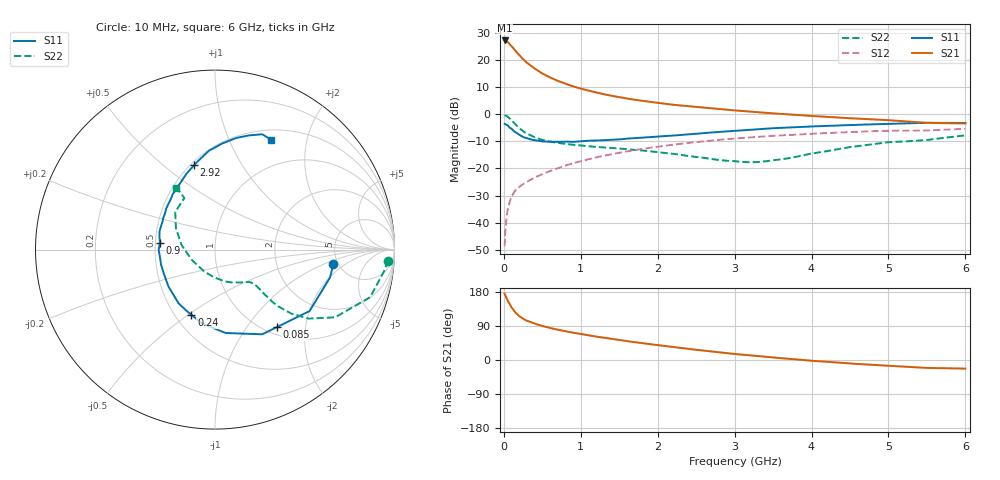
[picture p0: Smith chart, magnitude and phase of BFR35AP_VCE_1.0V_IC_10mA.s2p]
! Infineon Technologies  Discrete & RF Semiconductors
! BFR35AP
! VCE =  1.0 V,  IC =  10 mA
! Common Emitter S-Parameters:  Nov 2015
# GHz  S  MA  R  50
!  f  S11  S21  S12  S22
! GHz  MAG  ANG  MAG  ANG  MAG  ANG  MAG  ANG
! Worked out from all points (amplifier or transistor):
!   210 points, 10 MHz to 6 GHz, reference 50 ohm
!   highest |S21| = 27.2 dB at 10 MHz (marker M1)
!   |S21| within 3 dB of that: start of sweep to 127 MHz
!   unconditionally stable (mu >= 1): 475.4 MHz to end of sweep
!   at 185 MHz: K = 0.60, MSG = 24.7 dB, |S12| = -27.2 dB
!   at 1.52 GHz: K = 1.16, MAG = 7.7 dB, |S12| = -14.1 dB
!   at 6 GHz: K = 1.03, MAG = -0.1 dB, |S12| = -5.4 dB
!   S11 on the Smith chart (normalised r, x): 10 MHz: 4.56, -1.33; 85 MHz: 1.12, -1.40; 240 MHz: 0.60, -0.52; 900 MHz: 0.53, +0.05; 2.92 GHz: 0.52, +0.64; 6 GHz: 0.62, +1.44
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0.01  0.6648 -7.0  22.82 175.1  0.0037 87.6  0.9674 -3.6
0.02  0.6595 -13.6  22.5 170.1  0.0072 82.6  0.9509 -7.1
0.05  0.6283 -33.0  21.39 156.6  0.0174 75.3  0.9043 -17.0
0.085  0.5521 -51.6  18.85 144.5  0.0264 67.9  0.805 -25.2
0.1  0.5405 -60.8  18.06 138.4  0.0303 66.1  0.7684 -29.4
0.15  0.4685 -82.7  14.73 124.9  0.0395 59.9  0.6478 -36.4
0.2  0.4187 -99.4  12.27 115.7  0.0457 57.9  0.5541 -40.0
0.24  0.3871 -109.8  10.69 110.3  0.0503 57.4  0.4988 -41.3
0.26  0.3763 -114.8  10.02 107.8  0.0526 57.4  0.4758 -41.8
0.3  0.3616 -124.1  8.868 103.6  0.0568 57.6  0.4391 -42.3
0.4  0.3312 -141.5  6.917 95.9  0.0678 59.0  0.3764 -42.1
0.5  0.3153 -154.3  5.61 89.6  0.0786 59.8  0.3352 -41.5
0.7  0.3095 -172.5  4.12 79.8  0.1008 61.2  0.2961 -41.4
0.9  0.3091 172.8  3.253 72.0  0.1248 60.9  0.273 -42.2
1.02  0.3189 166.1  2.907 67.9  0.1385 60.6  0.2631 -43.4
1.4  0.3384 148.4  2.178 55.9  0.1829 57.5  0.2387 -49.8
2.02  0.389 127.0  1.603 38.7  0.254 50.7  0.1979 -65.8
2.92  0.484 104.0  1.201 17.7  0.3484 38.5  0.1381 -110.3
3.1  0.5038 100.6  1.144 14.1  0.3643 35.8  0.1319 -123.9
4.1  0.6014 84.4  0.91 -3.3  0.4428 21.9  0.1977 167.1
5.1  0.6693 72.3  0.758 -16.5  0.4958 8.3  0.3089 133.2
6  0.6875 63.1  0.675 -22.7  0.5376 -1.3  0.4075 121.9
